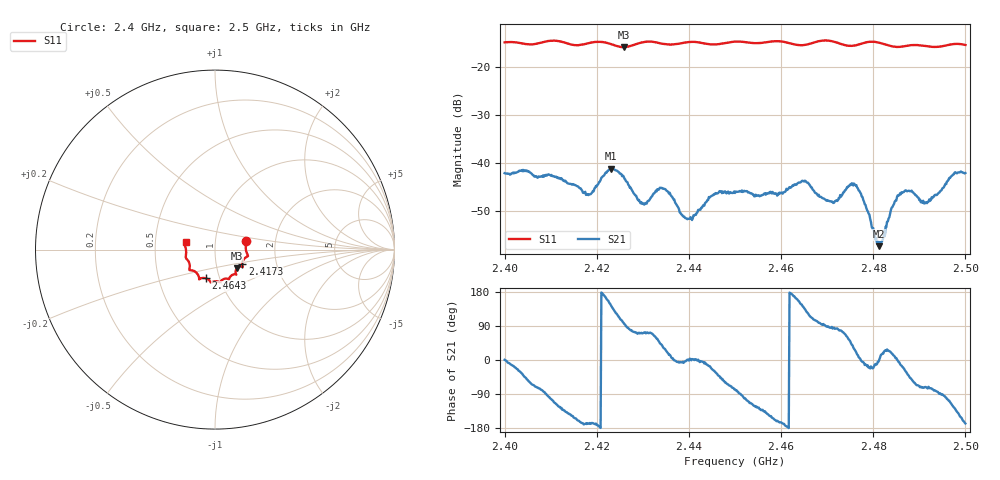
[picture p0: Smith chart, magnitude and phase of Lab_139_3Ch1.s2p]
# Hz S RI R 50
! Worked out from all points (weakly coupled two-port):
!   601 points, 2.4 GHz to 2.5 GHz, reference 50 ohm
!   highest |S21| = -41.24 dB at 2.4232 GHz (marker M1); lowest = -57.4 dB at 2.4812 GHz (marker M2)
!   lowest |S11| = -15.9 dB at 2.4258 GHz (marker M3), VSWR 1.38, Z = 62.4 - j13.3 ohm
!   |S11| at or under -10 dB: start of sweep to end of sweep
!   S12 and S22 are empty: the file has one direction only
!   S11 on the Smith chart (normalised r, x): 2.4 GHz: 1.41, +0.14; 2.4173 GHz: 1.34, -0.23; 2.4643 GHz: 0.86, -0.28; 2.5 GHz: 0.72, +0.06
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2.4e9  0.1729 0.049  0.00778 7.29e-05  0 0  0 0
2.409833e9  0.1837 -0.0331  -0.00133 -0.00734  0 0  0 0
2.416667e9  0.1525 -0.0744  -0.00509 -0.00128  0 0  0 0
2.417333e9  0.1516 -0.0818  -0.00475 -0.000929  0 0  0 0
2.423167e9  0.1444 -0.0938  -0.00683 0.00533  0 0  0 0
2.425833e9  0.1223 -0.1036  -0.000989 0.00712  0 0  0 0
2.429833e9  0.1173 -0.1361  0.00126 0.00351  0 0  0 0
2.433333e9  0.1127 -0.1376  0.00328 0.0041  0 0  0 0
2.439667e9  0.0792 -0.1621  0.00258 4.09e-05  0 0  0 0
2.445333e9  0.053 -0.1623  0.00413 -0.00217  0 0  0 0
2.45e9  0.0288 -0.1811  0.00105 -0.00472  0 0  0 0
2.4595e9  -0.0234 -0.1834  -0.00449 -0.00135  0 0  0 0
2.464333e9  -0.0499 -0.1603  -0.0053 0.0034  0 0  0 0
2.466667e9  -0.0758 -0.1593  -0.00201 0.00515  0 0  0 0
2.471333e9  -0.0879 -0.1614  0.000361 0.00379  0 0  0 0
2.476e9  -0.1163 -0.1192  0.00527 0.00266  0 0  0 0
2.481167e9  -0.1427 -0.1081  0.00135 -9.55e-05  0 0  0 0
2.483333e9  -0.1406 -0.0897  0.00239 0.00109  0 0  0 0
2.486667e9  -0.153 -0.0579  0.00457 -0.00193  0 0  0 0
2.4915e9  -0.1617 -0.0303  0.0012 -0.00368  0 0  0 0
2.497333e9  -0.17 0.029  -0.00408 -0.00635  0 0  0 0
2.5e9  -0.1634 0.0426  -0.00762 -0.0017  0 0  0 0
